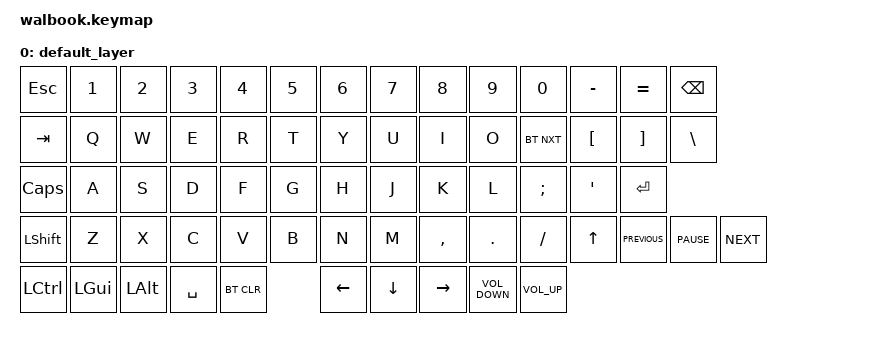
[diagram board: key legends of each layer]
#include <behaviors.dtsi>
#include <dt-bindings/zmk/keys.h>
#include <dt-bindings/zmk/bt.h>

/ {
    keymap {
        compatible = "zmk,keymap";

        default_layer {
            bindings = <
                        &kp ESC           &kp N1        &kp N2        &kp N3     &kp N4   &kp N5    &kp N6    &kp N7     &kp N8     &kp N9   &kp N0    &kp MINUS  &kp EQUAL  &kp BSPC
                        &kp TAB           &kp Q         &kp W         &kp E      &kp R    &kp T     &kp Y     &kp U      &kp I      &kp O    &bt BT_NXT     &kp LBKT   &kp RBKT   &kp BSLH
                        &kp CAPSLOCK      &kp A         &kp S         &kp D      &kp F    &kp G     &kp H     &kp J      &kp K      &kp L    &kp SEMI  &kp SQT    &kp RET
                        &kp LSHFT         &kp Z         &kp X         &kp C      &kp V    &kp B     &kp N     &kp M      &kp COMMA  &kp DOT  &kp FSLH  &kp UP     &kp C_PREVIOUS  &kp C_PAUSE  &kp C_NEXT
                        &kp LEFT_CONTROL  &kp LEFT_GUI  &kp LEFT_ALT  &kp SPACE  &bt BT_CLR  &kp LEFT  &kp DOWN  &kp RIGHT  &kp C_VOLUME_DOWN  &kp C_VOLUME_UP
            >;
        };
    };
};
